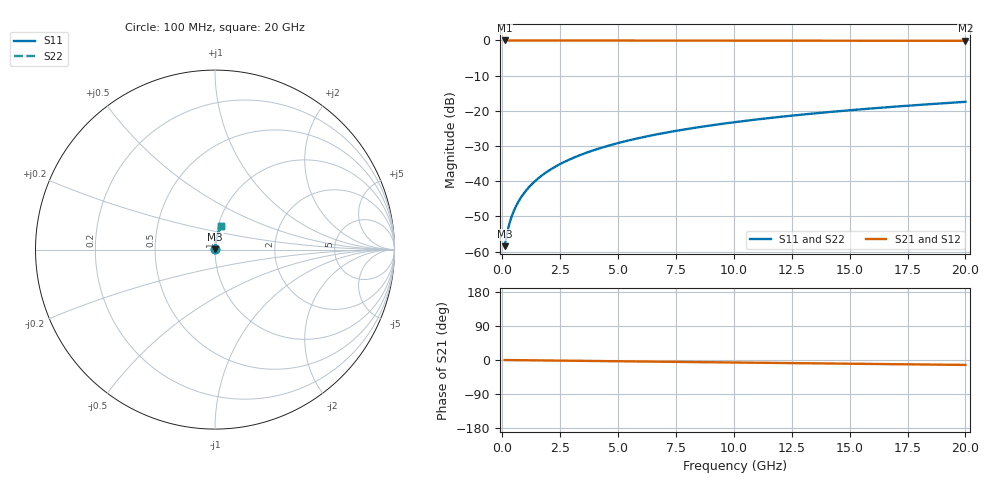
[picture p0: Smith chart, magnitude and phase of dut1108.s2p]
! Touchstone file exported from HFSS 2026.1.0
!  File:  C:/ffzhzh/LocalFiles/Ansys_Project_Files/temp_train_BSMRDL_1108_1783174926_18472.aedt
!  Generated:  10:23:19 PM Jul  4, 2026
!  Design:  BSMRDL
!  Project:  temp_train_BSMRDL_1108_1783174926_18472
! Variables:
!  h_bsmrdl = 2.98um
!  h_ox = 20um
!  h_rdl = 5um
!  h_sub = 80um
!  h_tmrdl = 5um
!  h_tsv = 80um
!  h_via = 3um
!  l_bsmrdl = 142.32um
!  l_sub = 542.32um
!  l_tmrdl = 200um
!  m_sub = 200um
!  pitch = 55.03um
!  r_tsv = 6um
!  s_tmrdl = 10um
!  w_bsmrdl = 27.65um
!  w_sub = 500um
!  w_tmrdl = 12um
!  x_tsv_center1 = 206um
!  x_tsv_center2 = 375.97um
!  x_tsv_center3 = 587.97um
!  x_tsv_center4 = 757.94um
!  x_tsv_center5 = 969.94um
!  x_tsv_center6 = 1139.91um
# GHz S MA R 50.000000
! Terminal data exported
! Port[1] = BSM_RDL1_1_T1
! Port[2] = BSM_RDL1_1_T2
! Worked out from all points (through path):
!   200 points, 100 MHz to 20 GHz, reference 50 ohm
!   highest |S21| = -0.01 dB at 100 MHz (marker M1); lowest = -0.1 dB at 20 GHz (marker M2)
!   group delay of S21, straight-line fit = 1.8 ps
!   lowest |S11| = -58.5 dB at 100 MHz (marker M3), VSWR 1.00, Z = 50.1 + j0.0767 ohm
!   |S11| at or under -10 dB: start of sweep to end of sweep
!   |S22| runs from -58.5 to -17.4 dB; largest |S21 - S12| = 2.3e-15
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0.1  0.001195 39.9  0.9991 -0.1  0.9991 -0.1  0.001195 39.9
! Gamma 0 0 0 0
! Port Impedance 50 0 50 0
0.2  0.001791 57.6  0.999 -0.1  0.999 -0.1  0.001791 57.6
0.3  0.002453 65.7  0.999 -0.2  0.999 -0.2  0.002453 65.7
0.4  0.003124 70.2  0.999 -0.3  0.999 -0.3  0.003124 70.2
0.5  0.003798 73.2  0.9989 -0.3  0.9989 -0.3  0.003798 73.1
0.6  0.004472 75.3  0.9989 -0.4  0.9989 -0.4  0.004472 75.3
0.8  0.005827 78.1  0.9988 -0.5  0.9988 -0.5  0.005827 78.1
1.1  0.007875 80.6  0.9988 -0.7  0.9988 -0.7  0.007875 80.6
1.3  0.009249 81.7  0.9988 -0.9  0.9988 -0.9  0.009249 81.7
1.6  0.01132 82.7  0.9987 -1.1  0.9987 -1.1  0.01132 82.7
2.1  0.01478 83.7  0.9986 -1.4  0.9986 -1.4  0.01478 83.7
2.7  0.01893 84.2  0.9985 -1.8  0.9985 -1.8  0.01893 84.2
3.5  0.02447 84.4  0.9983 -2.3  0.9983 -2.3  0.02447 84.4
4.2  0.02931 84.3  0.9981 -2.8  0.9981 -2.8  0.02931 84.3
5  0.03482 84.1  0.9978 -3.3  0.9978 -3.3  0.03482 84.1
5.9  0.04099 83.7  0.9974 -3.9  0.9974 -3.9  0.04099 83.7
6.8  0.04714 83.3  0.997 -4.5  0.997 -4.5  0.04714 83.3
8.3  0.05732 82.4  0.9963 -5.5  0.9963 -5.5  0.05732 82.4
10.1  0.06943 81.4  0.9952 -6.6  0.9952 -6.6  0.06943 81.4
13.4  0.09137 79.5  0.993 -8.8  0.993 -8.8  0.09137 79.5
16.7  0.113 77.5  0.9904 -10.9  0.9904 -10.9  0.113 77.5
20  0.1342 75.5  0.9874 -13.0  0.9874 -13.0  0.1342 75.5
